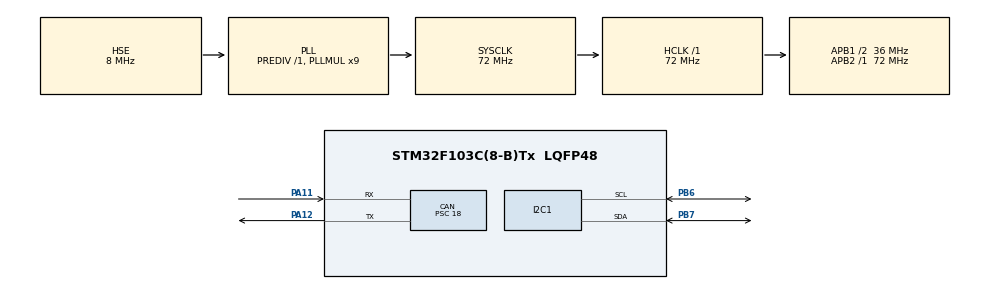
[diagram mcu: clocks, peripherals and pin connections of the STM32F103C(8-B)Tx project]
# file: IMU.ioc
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CAN.BS1=CAN_BS1_13TQ
CAN.BS2=CAN_BS2_2TQ
CAN.CalculateBaudRate=125000
CAN.CalculateTimeBit=8000
CAN.CalculateTimeQuantum=500.0
CAN.Prescaler=18
I2C1.I2C_Mode=I2C_Standard
Mcu.Family=STM32F1
Mcu.Name=STM32F103C(8-B)Tx
Mcu.Package=LQFP48
NVIC.PriorityGroup=NVIC_PRIORITYGROUP_4
NVIC.TIM1_UP_IRQn=true\:15\:0\:false\:false\:true\:false\:true\:true
NVIC.TimeBase=TIM1_UP_IRQn
NVIC.TimeBaseIP=TIM1
PA11.Mode=CAN_Activate
PA11.Signal=CAN_RX
PA12.Mode=CAN_Activate
PA12.Signal=CAN_TX
PA13.Mode=Serial_Wire
PA13.Signal=SYS_JTMS-SWDIO
PA14.Mode=Serial_Wire
PA14.Signal=SYS_JTCK-SWCLK
PB6.Mode=I2C
PB6.Signal=I2C1_SCL
PB7.Mode=I2C
PB7.Signal=I2C1_SDA
PD0-OSC_IN.Mode=HSE-External-Oscillator
PD0-OSC_IN.Signal=RCC_OSC_IN
PD1-OSC_OUT.Mode=HSE-External-Oscillator
PD1-OSC_OUT.Signal=RCC_OSC_OUT
ProjectManager.HeapSize=0x200
ProjectManager.StackSize=0x400
ProjectManager.TargetToolchain=MDK-ARM V5.32
RCC.AHBFreq_Value=72000000
RCC.APB1CLKDivider=RCC_HCLK_DIV2
RCC.APB1Freq_Value=36000000
RCC.APB1TimFreq_Value=72000000
RCC.APB2Freq_Value=72000000
RCC.APB2TimFreq_Value=72000000
RCC.HCLKFreq_Value=72000000
RCC.PLLMUL=RCC_PLL_MUL9
RCC.PLLSourceVirtual=RCC_PLLSOURCE_HSE
RCC.SYSCLKFreq_VALUE=72000000
RCC.SYSCLKSource=RCC_SYSCLKSOURCE_PLLCLK
RCC.USBFreq_Value=72000000
VP_SYS_VS_tim1.Mode=TIM1
board=custom

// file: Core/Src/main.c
/* USER CODE BEGIN Header */
/**
  ******************************************************************************
  * @file           : main.c
  * @brief          : Main program body
  ******************************************************************************
  * @attention
  *
  * Copyright (c) 2023 STMicroelectronics.
  * All rights reserved.
  *
  * This software is licensed under terms that can be found in the LICENSE file
  * in the root directory of this software component.
  * If no LICENSE file comes with this software, it is provided AS-IS.
  *
  ******************************************************************************
  */
/* USER CODE END Header */
#include "main.h"

/* USER CODE BEGIN Includes */
#include "BNO055.h"
#include <stdio.h>
#include <string.h>
/* USER CODE END Includes */

/* USER CODE BEGIN PD */
#define PITCH_ROLL_MESSAGEID 0x144
#define HEADING_MESSAGEID 0x007
/* USER CODE END PD */

CAN_HandleTypeDef hcan;

I2C_HandleTypeDef hi2c1;

/* USER CODE BEGIN PV */
CAN_TxHeaderTypeDef TxPitchRoll;
CAN_TxHeaderTypeDef TxHeading;
float angles[3] = {12.5,13.5,14.5};
uint32_t	mailBox;
float pitchRoll[2];
/* USER CODE END PV */

void SystemClock_Config(void);
static void MX_GPIO_Init(void);
static void MX_I2C1_Init(void);
static void MX_CAN_Init(void);
/* USER CODE BEGIN PFP */
void pitchRollTransimit ()
{
	TxPitchRoll.StdId = PITCH_ROLL_MESSAGEID;
	TxPitchRoll.ExtId = 0;
	TxPitchRoll.IDE = CAN_ID_STD;
	TxPitchRoll.RTR = CAN_RTR_DATA;
	TxPitchRoll.DLC = 2*sizeof(float);
}

void headingTransimit ()
{
	TxHeading.StdId = HEADING_MESSAGEID;
	TxHeading.ExtId = 0;
	TxHeading.IDE = CAN_ID_STD;
	TxHeading.RTR = CAN_RTR_DATA;
	TxHeading.DLC = sizeof(float);
}
/* USER CODE END PFP */

int main(void)
{

  /* MCU Configuration--------------------------------------------------------*/

  /* Reset of all peripherals, Initializes the Flash interface and the Systick. */
  HAL_Init();

  /* Configure the system clock */
  SystemClock_Config();

  /* Initialize all configured peripherals */
  MX_GPIO_Init();
  MX_I2C1_Init();
  MX_CAN_Init();
  /* USER CODE BEGIN 2 */
	BNO055_NDOF_Init(&hi2c1);
	pitchRollTransimit ();
	headingTransimit ();
	HAL_CAN_Start(&hcan);
  /* USER CODE END 2 */

  /* Infinite loop */
  /* USER CODE BEGIN WHILE */
  while (1)
  {
		//BNO055_EUL_get_readings(&hi2c1,angles);

		pitchRoll[0]=angles[1];
		pitchRoll[1]=angles[2];

		HAL_CAN_AddTxMessage(&hcan , &TxPitchRoll , (void *)pitchRoll , &mailBox);
		HAL_Delay(100);
		HAL_CAN_AddTxMessage(&hcan , &TxHeading , (void *)&angles[0] , &mailBox);

    /* USER CODE END WHILE */

  }
}

void SystemClock_Config(void)
{
  RCC_OscInitTypeDef RCC_OscInitStruct = {0};
  RCC_ClkInitTypeDef RCC_ClkInitStruct = {0};

  /** Initializes the RCC Oscillators according to the specified parameters
  * in the RCC_OscInitTypeDef structure.
  */
  RCC_OscInitStruct.OscillatorType = RCC_OSCILLATORTYPE_HSE;
  RCC_OscInitStruct.HSEState = RCC_HSE_ON;
  RCC_OscInitStruct.HSEPredivValue = RCC_HSE_PREDIV_DIV1;
  RCC_OscInitStruct.HSIState = RCC_HSI_ON;
  RCC_OscInitStruct.PLL.PLLState = RCC_PLL_ON;
  RCC_OscInitStruct.PLL.PLLSource = RCC_PLLSOURCE_HSE;
  RCC_OscInitStruct.PLL.PLLMUL = RCC_PLL_MUL9;
  if (HAL_RCC_OscConfig(&RCC_OscInitStruct) != HAL_OK)
  {
    Error_Handler();
  }

  /** Initializes the CPU, AHB and APB buses clocks
  */
  RCC_ClkInitStruct.ClockType = RCC_CLOCKTYPE_HCLK|RCC_CLOCKTYPE_SYSCLK
                              |RCC_CLOCKTYPE_PCLK1|RCC_CLOCKTYPE_PCLK2;
  RCC_ClkInitStruct.SYSCLKSource = RCC_SYSCLKSOURCE_PLLCLK;
  RCC_ClkInitStruct.AHBCLKDivider = RCC_SYSCLK_DIV1;
  RCC_ClkInitStruct.APB1CLKDivider = RCC_HCLK_DIV2;
  RCC_ClkInitStruct.APB2CLKDivider = RCC_HCLK_DIV1;

  if (HAL_RCC_ClockConfig(&RCC_ClkInitStruct, FLASH_LATENCY_2) != HAL_OK)
  {
    Error_Handler();
  }
}

static void MX_CAN_Init(void)
{

  hcan.Instance = CAN1;
  hcan.Init.Prescaler = 18;
  hcan.Init.Mode = CAN_MODE_NORMAL;
  hcan.Init.SyncJumpWidth = CAN_SJW_1TQ;
  hcan.Init.TimeSeg1 = CAN_BS1_13TQ;
  hcan.Init.TimeSeg2 = CAN_BS2_2TQ;
  hcan.Init.TimeTriggeredMode = DISABLE;
  hcan.Init.AutoBusOff = DISABLE;
  hcan.Init.AutoWakeUp = DISABLE;
  hcan.Init.AutoRetransmission = DISABLE;
  hcan.Init.ReceiveFifoLocked = DISABLE;
  hcan.Init.TransmitFifoPriority = DISABLE;
  if (HAL_CAN_Init(&hcan) != HAL_OK)
  {
    Error_Handler();
  }

}

static void MX_I2C1_Init(void)
{

  hi2c1.Instance = I2C1;
  hi2c1.Init.ClockSpeed = 100000;
  hi2c1.Init.DutyCycle = I2C_DUTYCYCLE_2;
  hi2c1.Init.OwnAddress1 = 0;
  hi2c1.Init.AddressingMode = I2C_ADDRESSINGMODE_7BIT;
  hi2c1.Init.DualAddressMode = I2C_DUALADDRESS_DISABLE;
  hi2c1.Init.OwnAddress2 = 0;
  hi2c1.Init.GeneralCallMode = I2C_GENERALCALL_DISABLE;
  hi2c1.Init.NoStretchMode = I2C_NOSTRETCH_DISABLE;
  if (HAL_I2C_Init(&hi2c1) != HAL_OK)
  {
    Error_Handler();
  }

}

static void MX_GPIO_Init(void)
{

  /* GPIO Ports Clock Enable */
  __HAL_RCC_GPIOD_CLK_ENABLE();
  __HAL_RCC_GPIOA_CLK_ENABLE();
  __HAL_RCC_GPIOB_CLK_ENABLE();

}

void HAL_TIM_PeriodElapsedCallback(TIM_HandleTypeDef *htim)
{
  if (htim->Instance == TIM1) {
    HAL_IncTick();
  }
}

void Error_Handler(void)
{
  __disable_irq();
  while (1)
  {
  }
}
